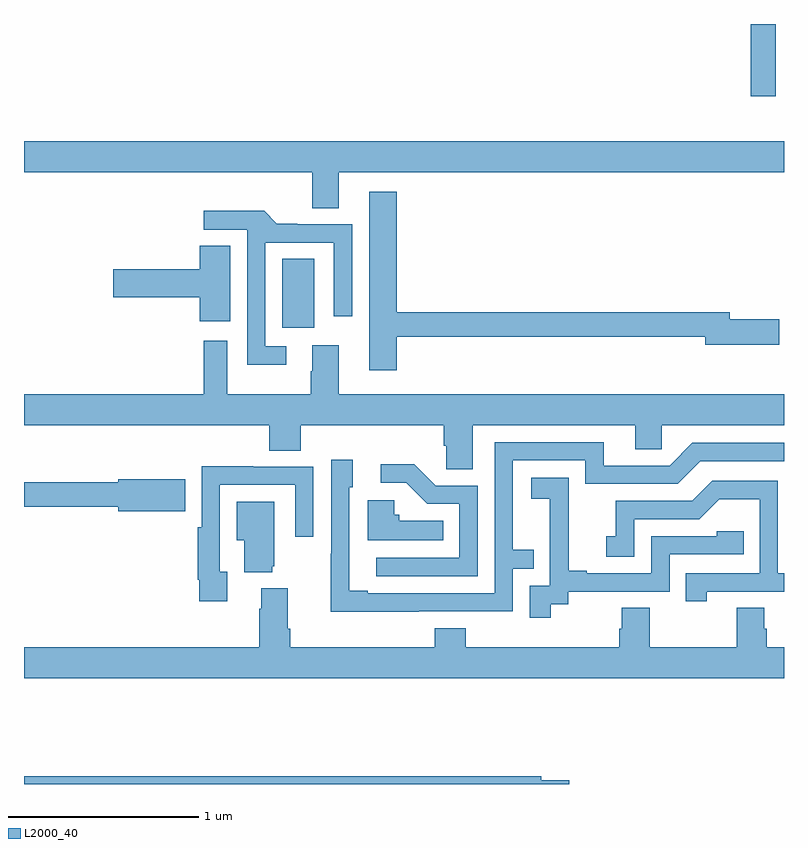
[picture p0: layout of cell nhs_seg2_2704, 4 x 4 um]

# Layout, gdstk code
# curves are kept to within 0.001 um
import gdstk
lib = gdstk.Library(unit=1e-6, precision=1e-09)
def R(c, l, rs):  # rectangles x0, y0, x1, y1
    for r in rs: c.add(gdstk.rectangle(r[:2], r[2:], *l))
def P(c, l, *ps):  # polygons
    for p in ps: c.add(gdstk.Polygon(p, *l))
L2000_40 = (2000, 40)

nhs_seg2_2704 = lib.new_cell('nhs_seg2_2704')
R(nhs_seg2_2704, L2000_40, [(254.36,596.202,254.527,596.564), (256.826,597.42,256.957,597.8)])
P(nhs_seg2_2704, L2000_40, [(254.656,597.02),(257,597.02),(257,597.184),(253,597.184),(253,597.02),(254.516,597.02),(254.516,596.83),(254.656,596.83)],
  [(254.963,596.154),(256.586,596.154),(256.586,596.111),(256.975,596.111),(256.975,596.246),(256.714,596.246),(256.714,596.282),(254.963,596.282),(254.963,596.917),(254.816,596.917),(254.816,595.977),(254.963,595.977)],
  [(254.38,596.103),(254.271,596.103),(254.271,596.649),(254.631,596.649),(254.631,596.262),(254.727,596.262),(254.727,596.745),(254.437,596.745),(254.437,596.75),(254.329,596.75),(254.264,596.816),(253.947,596.816),(253.947,596.718),(254.175,596.718),(254.175,596.006),(254.38,596.006)],
  [(254.086,596.633),(253.925,596.633),(253.925,596.51),(253.47,596.51),(253.47,596.363),(253.925,596.363),(253.925,596.235),(254.086,596.235)],
  [(255.361,595.688),(256.217,595.688),(256.217,595.561),(256.356,595.561),(256.356,595.688),(257,595.688),(257,595.852),(254.656,595.852),(254.656,596.11),(254.516,596.11),(254.516,595.973),(254.509,595.973),(254.509,595.852),(254.071,595.852),(254.071,596.134),(253.946,596.134),(253.946,595.852),(253,595.852),(253,595.688),(254.291,595.688),(254.291,595.555),(254.456,595.555),(254.456,595.688),(255.209,595.688),(255.209,595.579),(255.222,595.579),(255.222,595.456),(255.361,595.456)],
  [(255.077,594.708),(255.573,594.708),(255.573,594.933),(255.683,594.933),(255.683,595.034),(255.573,595.034),(255.573,595.503),(255.954,595.503),(255.954,595.38),(256.44,595.38),(256.56,595.5),(257,595.5),(257,595.596),(256.518,595.596),(256.398,595.476),(256.051,595.476),(256.051,595.599),(255.477,595.599),(255.477,594.804),(254.809,594.804),(254.809,594.817),(254.712,594.817),(254.712,595.362),(254.731,595.362),(254.731,595.507),(254.616,595.507),(254.616,595.013),(254.614,595.013),(254.614,594.707)],
  [(255.387,595.371),(255.168,595.371),(255.055,595.484),(254.877,595.484),(254.877,595.386),(255.011,595.386),(255.122,595.275),(255.291,595.275),(255.291,594.99),(254.853,594.99),(254.853,594.894),(255.387,594.894)],
  [(254.071,594.918),(254.031,594.918),(254.031,595.374),(254.427,595.374),(254.427,595.101),(254.523,595.101),(254.523,595.47),(254.207,595.47),(254.207,595.472),(253.935,595.472),(253.935,595.151),(253.915,595.151),(253.915,594.874),(253.923,594.874),(253.923,594.762),(254.071,594.762)],
  [(255.772,594.745),(255.864,594.745),(255.864,594.813),(256.398,594.813),(256.398,595.008),(256.787,595.008),(256.787,595.131),(256.647,595.131),(256.647,595.104),(256.302,595.104),(256.302,594.909),(255.961,594.909),(255.961,594.922),(255.866,594.922),(255.866,595.205),(255.867,595.205),(255.867,595.411),(255.669,595.411),(255.669,595.301),(255.767,595.301),(255.767,595.073),(255.768,595.073),(255.768,594.843),(255.663,594.843),(255.663,594.675),(255.772,594.675)],
  [(253.849,595.405),(253.496,595.405),(253.496,595.387),(253,595.387),(253,595.258),(253.496,595.258),(253.496,595.235),(253.849,595.235)],
  [(256.594,594.813),(257,594.813),(257,594.909),(256.968,594.909),(256.968,595.395),(256.622,595.395),(256.517,595.29),(256.114,595.29),(256.114,595.105),(256.065,595.105),(256.065,594.996),(256.212,594.996),(256.212,595.194),(256.554,595.194),(256.658,595.298),(256.872,595.298),(256.872,594.909),(256.483,594.909),(256.483,594.762),(256.594,594.762)],
  [(255.206,595.186),(254.976,595.186),(254.976,595.218),(254.949,595.218),(254.949,595.294),(254.81,595.294),(254.81,595.082),(255.206,595.082)],
  [(254.306,594.945),(254.317,594.945),(254.317,595.285),(254.12,595.285),(254.12,595.082),(254.159,595.082),(254.159,594.914),(254.306,594.914)],
  [(257,594.52),(256.91,594.52),(256.91,594.618),(256.897,594.618),(256.897,594.728),(256.75,594.728),(256.75,594.52),(256.293,594.52),(256.293,594.728),(256.145,594.728),(256.145,594.618),(256.133,594.618),(256.133,594.52),(255.326,594.52),(255.326,594.619),(255.161,594.619),(255.161,594.52),(254.402,594.52),(254.402,594.616),(254.389,594.616),(254.389,594.829),(254.249,594.829),(254.249,594.722),(254.237,594.722),(254.237,594.52),(253,594.52),(253,594.356),(257,594.356)],
  [(255.869,593.82),(255.722,593.82),(255.722,593.84),(253,593.84),(253,593.8),(255.869,593.8)])

lib.write_gds('nhs_seg2_2704.gds')
